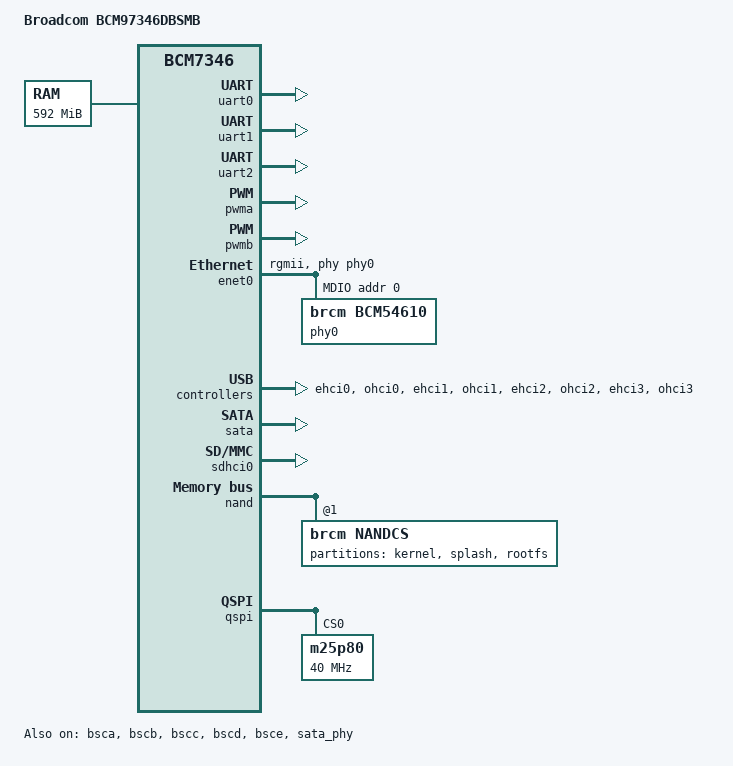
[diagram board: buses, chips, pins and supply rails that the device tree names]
/dts-v1/;

/include/ "bcm7346.dtsi"

/ {
	compatible = "brcm,bcm97346dbsmb", "brcm,bcm7346";
	model = "Broadcom BCM97346DBSMB";

	memory@0 {
		device_type = "memory";
		reg = <0x00000000 0x09000000>, <0x34000000 0x1c000000>;
	};

	chosen {
		bootargs = "console=ttyS0,115200";
		stdout-path = &uart0;
	};

	nexus-wakeups {
		interrupts = <0x0 0x1 0x2 0x5>;
		interrupt-parent = <&aon_pm_l2_intc>;
		interrupt-names = "cec", "irr", "kpd", "gpio";
	};
};

&uart0 {
	status = "okay";
};

&uart1 {
	status = "okay";
};

&uart2 {
	status = "okay";
};

&bsca {
	clock-frequency = <97500>;
	status = "okay";
};

&bscb {
	clock-frequency = <97500>;
	status = "okay";
};

&bscc {
	clock-frequency = <97500>;
	status = "okay";
};

&bscd {
	clock-frequency = <97500>;
	status = "okay";
};

&bsce {
	clock-frequency = <97500>;
	status = "okay";
};

&pwma {
	status = "okay";
};

&pwmb {
	status = "okay";
};

&enet0 {
	status = "okay";

	phy-mode = "rgmii";
	phy-handle = <&phy0>;

	mdio@e14 {
		phy0: ethernet-phy@0 {
			max-speed = <1000>;
			reg = <0x0>;
			compatible = "brcm,bcm54610",
				"ethernet-phy-ieee802.3-c22";
		};
	};
};

&ehci0 {
	status = "okay";
};

&ohci0 {
	status = "okay";
};

&ehci1 {
	status = "okay";
};

&ohci1 {
	status = "okay";
};

&ehci2 {
	status = "okay";
};

&ohci2 {
	status = "okay";
};

&ehci3 {
	status = "okay";
};

&ohci3 {
	status = "okay";
};

&sata {
	status = "okay";
};

&sata_phy {
	status = "okay";
};

&sdhci0 {
	status = "okay";
};

&nand {
	status = "okay";

	nandcs@1 {
		compatible = "brcm,nandcs";
		reg = <1>;
		nand-on-flash-bbt;

		nand-ecc-strength = <4>;
		nand-ecc-step-size = <512>;

		partitions {
			compatible = "fixed-partitions";
			#address-cells = <0x2>;
			#size-cells = <0x2>;

			flash1.kernel@0 {
				label = "kernel";
				reg = <0x0 0x0 0x0 0x800000>;
			};

			flash1.splash@800000 {
				label = "splash";
				reg = <0x0 0x800000 0x0 0x400000>;
			};

			flash1.rootfs@c00000 {
				label = "rootfs";
				reg = <0x0 0xc00000 0x0 0x1f200000>;
			};
		};
	};
};

&qspi {
	status = "okay";

	m25p80@0 {
		#size-cells = <0x2>;
		#address-cells = <0x2>;
		compatible = "m25p80";
		reg = <0>;
		spi-max-frequency = <40000000>;
		spi-cpol;
		spi-cpha;
		use-bspi;
		m25p,fast-read;

		flash0.cfe@0 {
			label = "cfe";
			reg = <0x0 0x0 0x0 0xa0000>;
		};

		flash0.nvram@a0000 {
			label = "nvram";
			reg = <0x0 0xa0000 0x0 0x10000>;
		};

		flash0.macadr@b0000 {
			label = "macadr";
			reg = <0x0 0xb0000 0x0 0x10000>;
		};
	};
};
